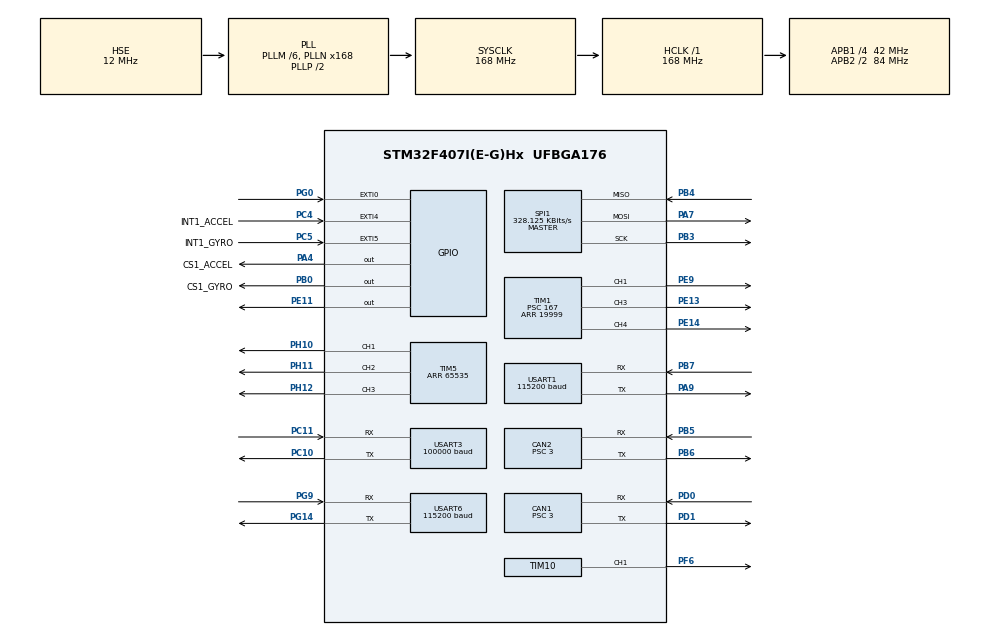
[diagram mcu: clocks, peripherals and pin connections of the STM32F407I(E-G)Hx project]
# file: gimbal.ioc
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CAN1.BS1=CAN_BS1_10TQ
CAN1.BS2=CAN_BS2_3TQ
CAN1.CalculateBaudRate=1000000
CAN1.CalculateTimeBit=1000
CAN1.CalculateTimeQuantum=71.42857142857143
CAN1.Prescaler=3
CAN2.BS1=CAN_BS1_10TQ
CAN2.BS2=CAN_BS2_3TQ
CAN2.CalculateBaudRate=1000000
CAN2.CalculateTimeBit=1000
CAN2.CalculateTimeQuantum=71.42857142857143
CAN2.Prescaler=3
Dma.Request0=SPI1_RX
Dma.Request1=SPI1_TX
Dma.Request2=USART1_RX
Dma.Request3=USART1_TX
Dma.Request4=USART3_RX
Dma.Request5=USART6_RX
Dma.Request6=USART6_TX
Dma.SPI1_RX.0.Direction=DMA_PERIPH_TO_MEMORY
Dma.SPI1_RX.0.FIFOMode=DMA_FIFOMODE_DISABLE
Dma.SPI1_RX.0.Instance=DMA2_Stream2
Dma.SPI1_RX.0.MemDataAlignment=DMA_MDATAALIGN_BYTE
Dma.SPI1_RX.0.MemInc=DMA_MINC_ENABLE
Dma.SPI1_RX.0.Mode=DMA_NORMAL
Dma.SPI1_RX.0.PeriphDataAlignment=DMA_PDATAALIGN_BYTE
Dma.SPI1_RX.0.PeriphInc=DMA_PINC_DISABLE
Dma.SPI1_RX.0.Priority=DMA_PRIORITY_VERY_HIGH
Dma.SPI1_TX.1.Direction=DMA_MEMORY_TO_PERIPH
Dma.SPI1_TX.1.FIFOMode=DMA_FIFOMODE_DISABLE
Dma.SPI1_TX.1.Instance=DMA2_Stream3
Dma.SPI1_TX.1.MemDataAlignment=DMA_MDATAALIGN_BYTE
Dma.SPI1_TX.1.MemInc=DMA_MINC_ENABLE
Dma.SPI1_TX.1.Mode=DMA_NORMAL
Dma.SPI1_TX.1.PeriphDataAlignment=DMA_PDATAALIGN_BYTE
Dma.SPI1_TX.1.PeriphInc=DMA_PINC_DISABLE
Dma.SPI1_TX.1.Priority=DMA_PRIORITY_HIGH
Dma.USART1_RX.2.Direction=DMA_PERIPH_TO_MEMORY
Dma.USART1_RX.2.FIFOMode=DMA_FIFOMODE_DISABLE
Dma.USART1_RX.2.Instance=DMA2_Stream5
Dma.USART1_RX.2.MemDataAlignment=DMA_MDATAALIGN_BYTE
Dma.USART1_RX.2.MemInc=DMA_MINC_ENABLE
Dma.USART1_RX.2.Mode=DMA_NORMAL
Dma.USART1_RX.2.PeriphDataAlignment=DMA_PDATAALIGN_BYTE
Dma.USART1_RX.2.PeriphInc=DMA_PINC_DISABLE
Dma.USART1_RX.2.Priority=DMA_PRIORITY_VERY_HIGH
Dma.USART1_TX.3.Direction=DMA_MEMORY_TO_PERIPH
Dma.USART1_TX.3.FIFOMode=DMA_FIFOMODE_DISABLE
Dma.USART1_TX.3.Instance=DMA2_Stream7
Dma.USART1_TX.3.MemDataAlignment=DMA_MDATAALIGN_BYTE
Dma.USART1_TX.3.MemInc=DMA_MINC_ENABLE
Dma.USART1_TX.3.Mode=DMA_NORMAL
Dma.USART1_TX.3.PeriphDataAlignment=DMA_PDATAALIGN_BYTE
Dma.USART1_TX.3.PeriphInc=DMA_PINC_DISABLE
Dma.USART1_TX.3.Priority=DMA_PRIORITY_VERY_HIGH
Dma.USART3_RX.4.Direction=DMA_PERIPH_TO_MEMORY
Dma.USART3_RX.4.FIFOMode=DMA_FIFOMODE_DISABLE
Dma.USART3_RX.4.Instance=DMA1_Stream1
Dma.USART3_RX.4.MemDataAlignment=DMA_MDATAALIGN_BYTE
Dma.USART3_RX.4.MemInc=DMA_MINC_ENABLE
Dma.USART3_RX.4.Mode=DMA_NORMAL
Dma.USART3_RX.4.PeriphDataAlignment=DMA_PDATAALIGN_BYTE
Dma.USART3_RX.4.PeriphInc=DMA_PINC_DISABLE
Dma.USART3_RX.4.Priority=DMA_PRIORITY_HIGH
Dma.USART6_RX.5.Direction=DMA_PERIPH_TO_MEMORY
Dma.USART6_RX.5.FIFOMode=DMA_FIFOMODE_DISABLE
Dma.USART6_RX.5.Instance=DMA2_Stream1
Dma.USART6_RX.5.MemDataAlignment=DMA_MDATAALIGN_BYTE
Dma.USART6_RX.5.MemInc=DMA_MINC_ENABLE
Dma.USART6_RX.5.Mode=DMA_NORMAL
Dma.USART6_RX.5.PeriphDataAlignment=DMA_PDATAALIGN_BYTE
Dma.USART6_RX.5.PeriphInc=DMA_PINC_DISABLE
Dma.USART6_RX.5.Priority=DMA_PRIORITY_VERY_HIGH
Dma.USART6_TX.6.Direction=DMA_MEMORY_TO_PERIPH
Dma.USART6_TX.6.FIFOMode=DMA_FIFOMODE_DISABLE
Dma.USART6_TX.6.Instance=DMA2_Stream6
Dma.USART6_TX.6.MemDataAlignment=DMA_MDATAALIGN_BYTE
Dma.USART6_TX.6.MemInc=DMA_MINC_ENABLE
Dma.USART6_TX.6.Mode=DMA_NORMAL
Dma.USART6_TX.6.PeriphDataAlignment=DMA_PDATAALIGN_BYTE
Dma.USART6_TX.6.PeriphInc=DMA_PINC_DISABLE
Dma.USART6_TX.6.Priority=DMA_PRIORITY_VERY_HIGH
FREERTOS.INCLUDE_eTaskGetState=1
FREERTOS.INCLUDE_pcTaskGetTaskName=1
FREERTOS.INCLUDE_uxTaskGetStackHighWaterMark=1
FREERTOS.INCLUDE_vTaskCleanUpResources=1
FREERTOS.INCLUDE_vTaskDelayUntil=1
FREERTOS.INCLUDE_xEventGroupSetBitFromISR=1
FREERTOS.INCLUDE_xQueueGetMutexHolder=1
FREERTOS.INCLUDE_xSemaphoreGetMutexHolder=1
FREERTOS.INCLUDE_xTaskAbortDelay=1
FREERTOS.INCLUDE_xTaskGetCurrentTaskHandle=1
FREERTOS.INCLUDE_xTaskGetHandle=1
FREERTOS.INCLUDE_xTimerPendFunctionCall=1
FREERTOS.Tasks01=test,0,128,test_task,As weak,NULL,Dynamic,NULL,NULL
FREERTOS.configENABLE_FPU=1
FREERTOS.configTOTAL_HEAP_SIZE=24576
FREERTOS.configUSE_TIMERS=1
Mcu.Family=STM32F4
Mcu.Name=STM32F407I(E-G)Hx
Mcu.Package=UFBGA176
NVIC.CAN1_RX0_IRQn=true\:5\:0\:false\:false\:true\:false\:true\:true\:true
NVIC.CAN2_RX0_IRQn=true\:6\:0\:true\:false\:true\:false\:true\:true\:true
NVIC.DMA1_Stream1_IRQn=true\:5\:0\:false\:false\:true\:false\:false\:true\:true
NVIC.DMA2_Stream1_IRQn=true\:5\:0\:false\:false\:true\:false\:false\:true\:true
NVIC.DMA2_Stream2_IRQn=true\:5\:0\:false\:false\:true\:false\:false\:true\:true
NVIC.DMA2_Stream3_IRQn=true\:5\:0\:false\:false\:true\:true\:false\:true\:true
NVIC.DMA2_Stream5_IRQn=true\:5\:0\:false\:false\:true\:true\:false\:true\:true
NVIC.DMA2_Stream6_IRQn=true\:5\:0\:false\:false\:true\:false\:false\:true\:true
NVIC.DMA2_Stream7_IRQn=true\:5\:0\:false\:false\:true\:true\:false\:true\:true
NVIC.EXTI0_IRQn=true\:6\:0\:true\:false\:true\:false\:true\:true\:true
NVIC.EXTI4_IRQn=true\:5\:0\:false\:false\:true\:false\:true\:true\:true
NVIC.EXTI9_5_IRQn=true\:5\:0\:false\:false\:true\:false\:true\:true\:true
NVIC.PriorityGroup=NVIC_PRIORITYGROUP_4
NVIC.TIM4_IRQn=true\:5\:0\:false\:false\:true\:true\:true\:true\:true
NVIC.USART1_IRQn=true\:5\:0\:false\:false\:true\:false\:true\:true\:true
NVIC.USART3_IRQn=true\:4\:0\:true\:false\:true\:false\:true\:true\:true
NVIC.USART6_IRQn=true\:5\:0\:false\:false\:true\:false\:true\:true\:true
PA13.Mode=Serial_Wire
PA13.Signal=SYS_JTMS-SWDIO
PA14.Mode=Serial_Wire
PA14.Signal=SYS_JTCK-SWCLK
PA4.GPIO_Label=CS1_ACCEL
PA4.GPIO_PuPd=GPIO_PULLUP
PA4.GPIO_Speed=GPIO_SPEED_FREQ_HIGH
PA4.PinState=GPIO_PIN_SET
PA4.Signal=GPIO_Output
PA7.GPIO_PuPd=GPIO_PULLUP
PA7.Mode=Full_Duplex_Master
PA7.Signal=SPI1_MOSI
PA9.Mode=Asynchronous
PA9.Signal=USART1_TX
PB0.GPIO_Label=CS1_GYRO
PB0.GPIO_PuPd=GPIO_PULLUP
PB0.GPIO_Speed=GPIO_SPEED_FREQ_HIGH
PB0.PinState=GPIO_PIN_SET
PB0.Signal=GPIO_Output
PB3.GPIO_PuPd=GPIO_PULLUP
PB3.Mode=Full_Duplex_Master
PB3.Signal=SPI1_SCK
PB4.GPIO_PuPd=GPIO_PULLUP
PB4.Mode=Full_Duplex_Master
PB4.Signal=SPI1_MISO
PB5.Mode=CAN_Activate
PB5.Signal=CAN2_RX
PB6.Mode=CAN_Activate
PB6.Signal=CAN2_TX
PB7.Mode=Asynchronous
PB7.Signal=USART1_RX
PC10.Mode=Asynchronous
PC10.Signal=USART3_TX
PC11.Mode=Asynchronous
PC11.Signal=USART3_RX
PC4.GPIO_Label=INT1_ACCEL
PC4.GPIO_ModeDefaultEXTI=GPIO_MODE_IT_FALLING
PC4.GPIO_PuPd=GPIO_PULLUP
PC4.Signal=GPXTI4
PC5.GPIO_Label=INT1_GYRO
PC5.GPIO_ModeDefaultEXTI=GPIO_MODE_IT_FALLING
PC5.GPIO_PuPd=GPIO_PULLUP
PC5.Signal=GPXTI5
PD0.Mode=CAN_Activate
PD0.Signal=CAN1_RX
PD1.Mode=CAN_Activate
PD1.Signal=CAN1_TX
PD14.GPIO_PuPd=GPIO_NOPULL
PD14.GPIO_Speed=GPIO_SPEED_FREQ_HIGH
PD14.Signal=S_TIM4_CH3
PE11.Signal=GPIO_Output
PE13.GPIO_PuPd=GPIO_PULLUP
PE13.GPIO_Speed=GPIO_SPEED_FREQ_HIGH
PE13.Signal=S_TIM1_CH3
PE14.GPIO_PuPd=GPIO_PULLUP
PE14.GPIO_Speed=GPIO_SPEED_FREQ_HIGH
PE14.Signal=S_TIM1_CH4
PE9.GPIO_PuPd=GPIO_PULLUP
PE9.GPIO_Speed=GPIO_SPEED_FREQ_HIGH
PE9.Signal=S_TIM1_CH1
PF6.Signal=S_TIM10_CH1
PG0.GPIO_ModeDefaultEXTI=GPIO_MODE_IT_FALLING
PG0.GPIO_PuPd=GPIO_PULLUP
PG0.Signal=GPXTI0
PG14.Mode=Asynchronous
PG14.Signal=USART6_TX
PG9.Mode=Asynchronous
PG9.Signal=USART6_RX
PH0-OSC_IN.Mode=HSE-External-Oscillator
PH0-OSC_IN.Signal=RCC_OSC_IN
PH1-OSC_OUT.Mode=HSE-External-Oscillator
PH1-OSC_OUT.Signal=RCC_OSC_OUT
PH10.GPIO_PuPd=GPIO_PULLUP
PH10.GPIO_Speed=GPIO_SPEED_FREQ_HIGH
PH10.Signal=S_TIM5_CH1
PH11.GPIO_PuPd=GPIO_PULLUP
PH11.GPIO_Speed=GPIO_SPEED_FREQ_HIGH
PH11.Signal=S_TIM5_CH2
PH12.GPIO_PuPd=GPIO_PULLUP
PH12.GPIO_Speed=GPIO_SPEED_FREQ_HIGH
PH12.Signal=S_TIM5_CH3
ProjectManager.HeapSize=0x400
ProjectManager.StackSize=0x400
ProjectManager.TargetToolchain=MDK-ARM V5.32
RCC.48MHZClocksFreq_Value=84000000
RCC.AHBFreq_Value=168000000
RCC.APB1CLKDivider=RCC_HCLK_DIV4
RCC.APB1Freq_Value=42000000
RCC.APB1TimFreq_Value=84000000
RCC.APB2CLKDivider=RCC_HCLK_DIV2
RCC.APB2Freq_Value=84000000
RCC.APB2TimFreq_Value=168000000
RCC.CortexFreq_Value=168000000
RCC.HCLKFreq_Value=168000000
RCC.HSE_VALUE=12000000
RCC.HSI_VALUE=16000000
RCC.LSE_VALUE=32768
RCC.PLLM=6
RCC.PLLN=168
RCC.PLLSourceVirtual=RCC_PLLSOURCE_HSE
RCC.SYSCLKFreq_VALUE=168000000
RCC.SYSCLKSource=RCC_SYSCLKSOURCE_PLLCLK
RCC.VCOOutputFreq_Value=336000000
SH.S_TIM10_CH1.0=TIM10_CH1,PWM Generation1 CH1
SH.S_TIM1_CH1.0=TIM1_CH1,PWM Generation1 CH1
SH.S_TIM1_CH3.0=TIM1_CH3,PWM Generation3 CH3
SH.S_TIM1_CH4.0=TIM1_CH4,PWM Generation4 CH4
SH.S_TIM4_CH3.0=TIM4_CH3
SH.S_TIM5_CH1.0=TIM5_CH1,PWM Generation1 CH1
SH.S_TIM5_CH2.0=TIM5_CH2,PWM Generation2 CH2
SH.S_TIM5_CH3.0=TIM5_CH3,PWM Generation3 CH3
SPI1.BaudRatePrescaler=SPI_BAUDRATEPRESCALER_256
SPI1.CLKPhase=SPI_PHASE_2EDGE
SPI1.CLKPolarity=SPI_POLARITY_HIGH
SPI1.CalculateBaudRate=328.125 KBits/s
SPI1.Direction=SPI_DIRECTION_2LINES
SPI1.Mode=SPI_MODE_MASTER
SPI1.VirtualType=VM_MASTER
STMicroelectronics.X-CUBE-ALGOBUILD.1.3.0.LibraryCcDSPOoLibraryJjDSPOoLibrary=true
TIM1.Channel-PWM\ Generation1\ CH1=TIM_CHANNEL_1
TIM1.Channel-PWM\ Generation3\ CH3=TIM_CHANNEL_3
TIM1.Channel-PWM\ Generation4\ CH4=TIM_CHANNEL_4
TIM1.Period=19999
TIM1.Prescaler=167
TIM1.Pulse-PWM\ Generation3\ CH3=1000
TIM1.Pulse-PWM\ Generation4\ CH4=1000
TIM10.Channel=TIM_CHANNEL_1
TIM10.Period=4999
TIM4.AutoReloadPreload=TIM_AUTORELOAD_PRELOAD_ENABLE
TIM4.Period=9999
TIM4.Prescaler=167
TIM5.Channel-PWM\ Generation1\ CH1=TIM_CHANNEL_1
TIM5.Channel-PWM\ Generation2\ CH2=TIM_CHANNEL_2
TIM5.Channel-PWM\ Generation3\ CH3=TIM_CHANNEL_3
TIM5.Period=65535
USART1.BaudRate=115200
USART1.VirtualMode=VM_ASYNC
USART3.BaudRate=100000
USART3.VirtualMode=VM_ASYNC
USART6.BaudRate=115200
USART6.VirtualMode=VM_ASYNC
VP_FREERTOS_VS_CMSIS_V1.Mode=CMSIS_V1
VP_STMicroelectronics.X-CUBE-ALGOBUILD_VS_DSPOoLibraryJjLibrary_1.3.0_1.3.0.Mode=DSPOoLibraryJjLibrary
VP_TIM10_VS_ClockSourceINT.Mode=Enable_Timer
VP_TIM1_VS_ClockSourceINT.Mode=Internal
VP_TIM4_VS_ClockSourceINT.Mode=Internal
VP_TIM5_VS_ClockSourceINT.Mode=Internal
board=custom

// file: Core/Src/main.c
/* USER CODE BEGIN Header */
/**
  ******************************************************************************
  * @file           : main.c
  * @brief          : Main program body
  ******************************************************************************
  * @attention
  *
  * Copyright (c) 2023 STMicroelectronics.
  * All rights reserved.
  *
  * This software is licensed under terms that can be found in the LICENSE file
  * in the root directory of this software component.
  * If no LICENSE file comes with this software, it is provided AS-IS.
  *
  ******************************************************************************
  */
/* USER CODE END Header */
#include "main.h"
#include "cmsis_os.h"
#include "can.h"
#include "dma.h"
#include "spi.h"
#include "tim.h"
#include "usart.h"
#include "gpio.h"

/* USER CODE BEGIN Includes */
#include "bsp_can.h"
#include "bsp_delay.h"
#include "bsp_usart.h"
#include "remote_control.h"
#include "gimbal_task.h"
#include "stm32f4xx_it.h"
#include "bsp_dwt.h"
/* USER CODE END Includes */

void SystemClock_Config(void);
void MX_FREERTOS_Init(void);

int main(void)
{

  /* MCU Configuration--------------------------------------------------------*/

  /* Reset of all peripherals, Initializes the Flash interface and the Systick. */
  HAL_Init();

  /* Configure the system clock */
  SystemClock_Config();

  /* Initialize all configured peripherals */
  MX_GPIO_Init();
  MX_DMA_Init();
  MX_CAN1_Init();
  MX_CAN2_Init();
  MX_SPI1_Init();
  MX_TIM1_Init();
  MX_TIM4_Init();
  MX_TIM5_Init();
  MX_TIM10_Init();
  MX_USART1_UART_Init();
  MX_USART3_UART_Init();
  MX_USART6_UART_Init();
  /* USER CODE BEGIN 2 */
  HAL_GPIO_WritePin(GPIOH, GPIO_PIN_12, GPIO_PIN_SET);
  can_filter_init();
  delay_init();
  HAL_TIM_Base_Start_IT(&htim4);
  __HAL_UART_CLEAR_IDLEFLAG(&huart6);
  __HAL_UART_ENABLE_IT(&huart6, UART_IT_IDLE);
  DWT_Init(168);
  /* USER CODE END 2 */

  /* Call init function for freertos objects (in cmsis_os2.c) */
  MX_FREERTOS_Init();

  /* Start scheduler */
  osKernelStart();

  /* We should never get here as control is now taken by the scheduler */

  /* Infinite loop */
  while (1)
  {

  }
}

void SystemClock_Config(void)
{
  RCC_OscInitTypeDef RCC_OscInitStruct = {0};
  RCC_ClkInitTypeDef RCC_ClkInitStruct = {0};

  /** Configure the main internal regulator output voltage
  */
  __HAL_RCC_PWR_CLK_ENABLE();
  __HAL_PWR_VOLTAGESCALING_CONFIG(PWR_REGULATOR_VOLTAGE_SCALE1);

  /** Initializes the RCC Oscillators according to the specified parameters
  * in the RCC_OscInitTypeDef structure.
  */
  RCC_OscInitStruct.OscillatorType = RCC_OSCILLATORTYPE_HSE;
  RCC_OscInitStruct.HSEState = RCC_HSE_ON;
  RCC_OscInitStruct.PLL.PLLState = RCC_PLL_ON;
  RCC_OscInitStruct.PLL.PLLSource = RCC_PLLSOURCE_HSE;
  RCC_OscInitStruct.PLL.PLLM = 6;
  RCC_OscInitStruct.PLL.PLLN = 168;
  RCC_OscInitStruct.PLL.PLLP = RCC_PLLP_DIV2;
  RCC_OscInitStruct.PLL.PLLQ = 4;
  if (HAL_RCC_OscConfig(&RCC_OscInitStruct) != HAL_OK)
  {
    Error_Handler();
  }

  /** Initializes the CPU, AHB and APB buses clocks
  */
  RCC_ClkInitStruct.ClockType = RCC_CLOCKTYPE_HCLK|RCC_CLOCKTYPE_SYSCLK
                              |RCC_CLOCKTYPE_PCLK1|RCC_CLOCKTYPE_PCLK2;
  RCC_ClkInitStruct.SYSCLKSource = RCC_SYSCLKSOURCE_PLLCLK;
  RCC_ClkInitStruct.AHBCLKDivider = RCC_SYSCLK_DIV1;
  RCC_ClkInitStruct.APB1CLKDivider = RCC_HCLK_DIV4;
  RCC_ClkInitStruct.APB2CLKDivider = RCC_HCLK_DIV2;

  if (HAL_RCC_ClockConfig(&RCC_ClkInitStruct, FLASH_LATENCY_5) != HAL_OK)
  {
    Error_Handler();
  }
}

/* USER CODE BEGIN 4 */

float32_t Get_SystemTimer(void)
{
	timcnt /= 100.0f;  //ת��Ϊs
	return (float32_t)timcnt;
}
/* USER CODE END 4 */

void Error_Handler(void)
{
  __disable_irq();
  while (1)
  {
  }
}

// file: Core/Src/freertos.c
/* USER CODE BEGIN Header */
/**
  ******************************************************************************
  * File Name          : freertos.c
  * Description        : Code for freertos applications
  ******************************************************************************
  * @attention
  *
  * Copyright (c) 2023 STMicroelectronics.
  * All rights reserved.
  *
  * This software is licensed under terms that can be found in the LICENSE file
  * in the root directory of this software component.
  * If no LICENSE file comes with this software, it is provided AS-IS.
  *
  ******************************************************************************
  */
/* USER CODE END Header */

#include "FreeRTOS.h"
#include "task.h"
#include "main.h"
#include "cmsis_os.h"

/* USER CODE BEGIN Includes */
#include "gimbal_task.h"
#include "imu_task.h"
#include "led_task.h"
#include "detect_task.h"
#include "CAN_receive.h"
#include "motor_task.h"
#include "usart_communicate.h"
/* USER CODE END Includes */

/* USER CODE BEGIN PTD */
osThreadId imuTaskHandle;
//osThreadId gimbaltaskHandle;
osThreadId cybergeartaskHandle;
osThreadId motorTaskHandle;
osThreadId uasrtcommunicateTaskHandle;
/* USER CODE END PTD */

osThreadId testHandle;

void test_task(void const * argument);

void MX_FREERTOS_Init(void); /* (MISRA C 2004 rule 8.1) */

/* GetIdleTaskMemory prototype (linked to static allocation support) */
void vApplicationGetIdleTaskMemory( StaticTask_t **ppxIdleTaskTCBBuffer, StackType_t **ppxIdleTaskStackBuffer, uint32_t *pulIdleTaskStackSize );

/* GetTimerTaskMemory prototype (linked to static allocation support) */
void vApplicationGetTimerTaskMemory( StaticTask_t **ppxTimerTaskTCBBuffer, StackType_t **ppxTimerTaskStackBuffer, uint32_t *pulTimerTaskStackSize );

/* USER CODE BEGIN GET_IDLE_TASK_MEMORY */
static StaticTask_t xIdleTaskTCBBuffer;
static StackType_t xIdleStack[configMINIMAL_STACK_SIZE];

void vApplicationGetIdleTaskMemory( StaticTask_t **ppxIdleTaskTCBBuffer, StackType_t **ppxIdleTaskStackBuffer, uint32_t *pulIdleTaskStackSize )
{
  *ppxIdleTaskTCBBuffer = &xIdleTaskTCBBuffer;
  *ppxIdleTaskStackBuffer = &xIdleStack[0];
  *pulIdleTaskStackSize = configMINIMAL_STACK_SIZE;
  /* place for user code */
}
/* USER CODE END GET_IDLE_TASK_MEMORY */

/* USER CODE BEGIN GET_TIMER_TASK_MEMORY */
static StaticTask_t xTimerTaskTCBBuffer;
static StackType_t xTimerStack[configTIMER_TASK_STACK_DEPTH];

void vApplicationGetTimerTaskMemory( StaticTask_t **ppxTimerTaskTCBBuffer, StackType_t **ppxTimerTaskStackBuffer, uint32_t *pulTimerTaskStackSize )
{
  *ppxTimerTaskTCBBuffer = &xTimerTaskTCBBuffer;
  *ppxTimerTaskStackBuffer = &xTimerStack[0];
  *pulTimerTaskStackSize = configTIMER_TASK_STACK_DEPTH;
  /* place for user code */
}
/* USER CODE END GET_TIMER_TASK_MEMORY */

void MX_FREERTOS_Init(void) {

  /* Create the thread(s) */
  /* definition and creation of test */
  osThreadDef(test, test_task, osPriorityNormal, 0, 128);
  testHandle = osThreadCreate(osThread(test), NULL);

  /* USER CODE BEGIN RTOS_THREADS */
  /* add threads, ... */

  osThreadDef(imuTask, imu_task, osPriorityRealtime, 0, 512);
  imuTaskHandle = osThreadCreate(osThread(imuTask), NULL);

//  osThreadDef(gimbalTask, gimbal_task, osPriorityRealtime, 0, 128);
//  gimbaltaskHandle = osThreadCreate(osThread(gimbalTask), NULL);

	osThreadDef(motorTask, motor_task, osPriorityNormal, 0, 1024);
  motorTaskHandle = osThreadCreate(osThread(motorTask), NULL);

	osThreadDef(uasrtcommunicateTask, usart_communicate_task, osPriorityNormal, 0, 1024);
  uasrtcommunicateTaskHandle = osThreadCreate(osThread(uasrtcommunicateTask), NULL);
  /* USER CODE END RTOS_THREADS */

}

__weak void test_task(void const * argument)
{
  for(;;)
  {
    osDelay(1);
  }
}
